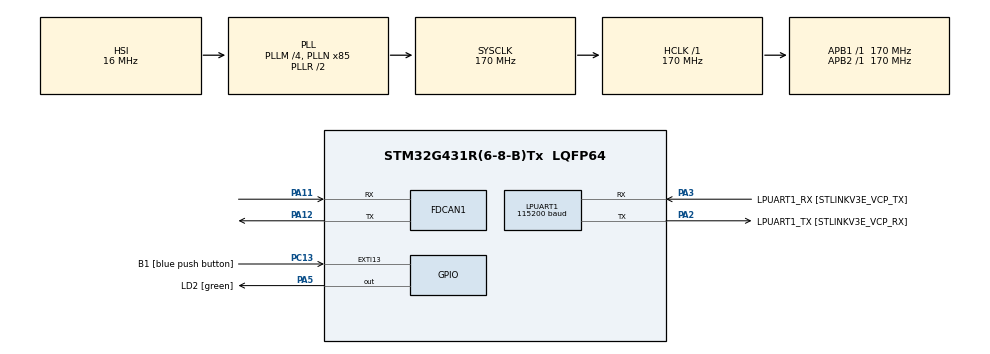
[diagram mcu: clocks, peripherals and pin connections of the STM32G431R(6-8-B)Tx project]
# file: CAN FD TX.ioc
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FDCAN1.AutoRetransmission=DISABLE
FDCAN1.CalculateBaudRateNominal=499999
FDCAN1.CalculateTimeBitNominal=2000
FDCAN1.CalculateTimeQuantumNominal=117.64705882352942
FDCAN1.FrameFormat=FDCAN_FRAME_FD_NO_BRS
FDCAN1.NominalPrescaler=20
FDCAN1.NominalSyncJumpWidth=2
FDCAN1.NominalTimeSeg1=14
FDCAN1.NominalTimeSeg2=2
FDCAN1.ProtocolException=DISABLE
FDCAN1.TransmitPause=DISABLE
LPUART1.BaudRate=115200
Mcu.Family=STM32G4
Mcu.Name=STM32G431R(6-8-B)Tx
Mcu.Package=LQFP64
NVIC.PriorityGroup=NVIC_PRIORITYGROUP_4
PA11.GPIO_Speed=GPIO_SPEED_FREQ_VERY_HIGH
PA11.Mode=FDCAN_Activate
PA11.Signal=FDCAN1_RX
PA12.GPIO_Speed=GPIO_SPEED_FREQ_VERY_HIGH
PA12.Mode=FDCAN_Activate
PA12.Signal=FDCAN1_TX
PA13.GPIO_Label=T_SWDIO
PA13.Mode=Serial_Wire
PA13.Signal=SYS_JTMS-SWDIO
PA14.GPIO_Label=T_SWCLK
PA14.Mode=Serial_Wire
PA14.Signal=SYS_JTCK-SWCLK
PA2.GPIO_Label=LPUART1_TX [STLINKV3E_VCP_RX]
PA2.Mode=Asynchronous
PA2.Signal=LPUART1_TX
PA3.GPIO_Label=LPUART1_RX [STLINKV3E_VCP_TX]
PA3.Mode=Asynchronous
PA3.Signal=LPUART1_RX
PA5.GPIO_Label=LD2 [green]
PA5.Signal=GPIO_Output
PB3.GPIO_Label=T_SWO
PB3.Signal=SYS_JTDO-SWO
PC13.GPIO_Label=B1 [blue push button]
PC13.Signal=GPXTI13
PC14-OSC32_IN.Mode=LSE-External-Oscillator
PC14-OSC32_IN.Signal=RCC_OSC32_IN
PC15-OSC32_OUT.Mode=LSE-External-Oscillator
PC15-OSC32_OUT.Signal=RCC_OSC32_OUT
PF0-OSC_IN.Mode=HSE-External-Oscillator
PF0-OSC_IN.Signal=RCC_OSC_IN
PF1-OSC_OUT.Mode=HSE-External-Oscillator
PF1-OSC_OUT.Signal=RCC_OSC_OUT
ProjectManager.HeapSize=0x200
ProjectManager.StackSize=0x400
ProjectManager.TargetToolchain=STM32CubeIDE
RCC.ADC12Freq_Value=170000000
RCC.AHBFreq_Value=170000000
RCC.APB1Freq_Value=170000000
RCC.APB1TimFreq_Value=170000000
RCC.APB2Freq_Value=170000000
RCC.APB2TimFreq_Value=170000000
RCC.CortexFreq_Value=170000000
RCC.EXTERNAL_CLOCK_VALUE=12288000
RCC.HCLKFreq_Value=170000000
RCC.HSE_VALUE=24000000
RCC.HSI48_VALUE=48000000
RCC.HSI_VALUE=16000000
RCC.PLLM=RCC_PLLM_DIV4
RCC.PLLN=85
RCC.RTCClockSelection=RCC_RTCCLKSOURCE_LSE
RCC.SYSCLKFreq_VALUE=170000000
RCC.SYSCLKSource=RCC_SYSCLKSOURCE_PLLCLK
RCC.USBFreq_Value=170000000
RCC.VCOOutputFreq_Value=340000000
VP_SYS_VS_DBSignals.Mode=DisableDeadBatterySignals
board=NUCLEO-G431RB

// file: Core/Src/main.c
/* USER CODE BEGIN Header */
/**
  ******************************************************************************
  * @file           : main.c
  * @brief          : Main program body
  ******************************************************************************
  * @attention
  *
  * Copyright (c) 2024 STMicroelectronics.
  * All rights reserved.
  *
  * This software is licensed under terms that can be found in the LICENSE file
  * in the root directory of this software component.
  * If no LICENSE file comes with this software, it is provided AS-IS.
  *
  ******************************************************************************
  */
/* USER CODE END Header */
#include "main.h"

/* USER CODE BEGIN Includes */
#include <stdio.h>
#include <string.h>
#include <stdlib.h>
/* USER CODE END Includes */

/* USER CODE BEGIN PTD */
FDCAN_TxHeaderTypeDef TxHeader;
FDCAN_RxHeaderTypeDef RxHeader;

uint8_t TxData[8];
uint8_t RxData[8];

/* USER CODE END PTD */

FDCAN_HandleTypeDef hfdcan1;

UART_HandleTypeDef hlpuart1;

/* USER CODE BEGIN PV */
char uart_msg[100];
void print(char uart_buffer[]);
void printValue(int value);
/* USER CODE END PV */

void SystemClock_Config(void);
static void MX_GPIO_Init(void);
static void MX_LPUART1_UART_Init(void);
static void MX_FDCAN1_Init(void);

int main(void)
{

  /* MCU Configuration--------------------------------------------------------*/

  /* Reset of all peripherals, Initializes the Flash interface and the Systick. */
  HAL_Init();

  /* Configure the system clock */
  SystemClock_Config();

  /* Initialize all configured peripherals */
  MX_GPIO_Init();
  MX_LPUART1_UART_Init();
  MX_FDCAN1_Init();
  /* USER CODE BEGIN 2 */

  print("starting");

  TxHeader.Identifier = 0x10;
  TxHeader.DataLength = FDCAN_DLC_BYTES_2;
  TxData[0] = 0x15;
  TxData[1] = 0x20;

  if(HAL_FDCAN_Start(&hfdcan1) == HAL_OK){
	  print("CAN inicializado");
  }

  /* USER CODE END 2 */

  /* Infinite loop */
  /* USER CODE BEGIN WHILE */
  while (1)
  {

	  /*if (HAL_FDCAN_AddMessageToTxFifoQ(&hfdcan1, &TxHeader, TxData) == HAL_OK)
		{
			print("enviado");
		}
	  HAL_Delay(500);*/
	  if(HAL_FDCAN_GetRxMessage(&hfdcan1, FDCAN_RX_FIFO0, &RxHeader, RxData) == HAL_OK){
		  print("Mensaje recibido");
	  }
	  else{
		  printValue(hfdcan1.ErrorCode);
	  }
	  HAL_Delay(500);

    /* USER CODE END WHILE */

  }
}

void SystemClock_Config(void)
{
  RCC_OscInitTypeDef RCC_OscInitStruct = {0};
  RCC_ClkInitTypeDef RCC_ClkInitStruct = {0};

  /** Configure the main internal regulator output voltage
  */
  HAL_PWREx_ControlVoltageScaling(PWR_REGULATOR_VOLTAGE_SCALE1_BOOST);

  /** Initializes the RCC Oscillators according to the specified parameters
  * in the RCC_OscInitTypeDef structure.
  */
  RCC_OscInitStruct.OscillatorType = RCC_OSCILLATORTYPE_HSI;
  RCC_OscInitStruct.HSIState = RCC_HSI_ON;
  RCC_OscInitStruct.HSICalibrationValue = RCC_HSICALIBRATION_DEFAULT;
  RCC_OscInitStruct.PLL.PLLState = RCC_PLL_ON;
  RCC_OscInitStruct.PLL.PLLSource = RCC_PLLSOURCE_HSI;
  RCC_OscInitStruct.PLL.PLLM = RCC_PLLM_DIV4;
  RCC_OscInitStruct.PLL.PLLN = 85;
  RCC_OscInitStruct.PLL.PLLP = RCC_PLLP_DIV2;
  RCC_OscInitStruct.PLL.PLLQ = RCC_PLLQ_DIV2;
  RCC_OscInitStruct.PLL.PLLR = RCC_PLLR_DIV2;
  if (HAL_RCC_OscConfig(&RCC_OscInitStruct) != HAL_OK)
  {
    Error_Handler();
  }

  /** Initializes the CPU, AHB and APB buses clocks
  */
  RCC_ClkInitStruct.ClockType = RCC_CLOCKTYPE_HCLK|RCC_CLOCKTYPE_SYSCLK
                              |RCC_CLOCKTYPE_PCLK1|RCC_CLOCKTYPE_PCLK2;
  RCC_ClkInitStruct.SYSCLKSource = RCC_SYSCLKSOURCE_PLLCLK;
  RCC_ClkInitStruct.AHBCLKDivider = RCC_SYSCLK_DIV1;
  RCC_ClkInitStruct.APB1CLKDivider = RCC_HCLK_DIV1;
  RCC_ClkInitStruct.APB2CLKDivider = RCC_HCLK_DIV1;

  if (HAL_RCC_ClockConfig(&RCC_ClkInitStruct, FLASH_LATENCY_4) != HAL_OK)
  {
    Error_Handler();
  }
}

static void MX_FDCAN1_Init(void)
{

  hfdcan1.Instance = FDCAN1;
  hfdcan1.Init.ClockDivider = FDCAN_CLOCK_DIV1;
  hfdcan1.Init.FrameFormat = FDCAN_FRAME_FD_NO_BRS;
  hfdcan1.Init.Mode = FDCAN_MODE_NORMAL;
  hfdcan1.Init.AutoRetransmission = DISABLE;
  hfdcan1.Init.TransmitPause = DISABLE;
  hfdcan1.Init.ProtocolException = DISABLE;
  hfdcan1.Init.NominalPrescaler = 20;
  hfdcan1.Init.NominalSyncJumpWidth = 2;
  hfdcan1.Init.NominalTimeSeg1 = 14;
  hfdcan1.Init.NominalTimeSeg2 = 2;
  hfdcan1.Init.DataPrescaler = 1;
  hfdcan1.Init.DataSyncJumpWidth = 1;
  hfdcan1.Init.DataTimeSeg1 = 1;
  hfdcan1.Init.DataTimeSeg2 = 1;
  hfdcan1.Init.StdFiltersNbr = 0;
  hfdcan1.Init.ExtFiltersNbr = 0;
  hfdcan1.Init.TxFifoQueueMode = FDCAN_TX_FIFO_OPERATION;
  if (HAL_FDCAN_Init(&hfdcan1) != HAL_OK)
  {
    Error_Handler();
  }
  /* USER CODE BEGIN FDCAN1_Init 2 */
  /*FDCAN_FilterTypeDef sFilterConfig;
  sFilterConfig.IdType = FDCAN_STANDARD_ID;
  sFilterConfig.FilterIndex = 0;
  sFilterConfig.FilterType = FDCAN_FILTER_RANGE;
  sFilterConfig.FilterConfig = FDCAN_FILTER_TO_RXFIFO0;
  sFilterConfig.FilterID1 = 0;
  sFilterConfig.FilterID2 = 0xFF;
  if (HAL_FDCAN_ConfigFilter(&hfdcan1, &sFilterConfig) != HAL_OK)
  {
    Error_Handler();
  }*/
  /* USER CODE END FDCAN1_Init 2 */

}

static void MX_LPUART1_UART_Init(void)
{

  hlpuart1.Instance = LPUART1;
  hlpuart1.Init.BaudRate = 115200;
  hlpuart1.Init.WordLength = UART_WORDLENGTH_8B;
  hlpuart1.Init.StopBits = UART_STOPBITS_1;
  hlpuart1.Init.Parity = UART_PARITY_NONE;
  hlpuart1.Init.Mode = UART_MODE_TX_RX;
  hlpuart1.Init.HwFlowCtl = UART_HWCONTROL_NONE;
  hlpuart1.Init.OneBitSampling = UART_ONE_BIT_SAMPLE_DISABLE;
  hlpuart1.Init.ClockPrescaler = UART_PRESCALER_DIV1;
  hlpuart1.AdvancedInit.AdvFeatureInit = UART_ADVFEATURE_NO_INIT;
  if (HAL_UART_Init(&hlpuart1) != HAL_OK)
  {
    Error_Handler();
  }
  if (HAL_UARTEx_SetTxFifoThreshold(&hlpuart1, UART_TXFIFO_THRESHOLD_1_8) != HAL_OK)
  {
    Error_Handler();
  }
  if (HAL_UARTEx_SetRxFifoThreshold(&hlpuart1, UART_RXFIFO_THRESHOLD_1_8) != HAL_OK)
  {
    Error_Handler();
  }
  if (HAL_UARTEx_DisableFifoMode(&hlpuart1) != HAL_OK)
  {
    Error_Handler();
  }

}

static void MX_GPIO_Init(void)
{
  GPIO_InitTypeDef GPIO_InitStruct = {0};

  /* GPIO Ports Clock Enable */
  __HAL_RCC_GPIOC_CLK_ENABLE();
  __HAL_RCC_GPIOF_CLK_ENABLE();
  __HAL_RCC_GPIOA_CLK_ENABLE();
  __HAL_RCC_GPIOB_CLK_ENABLE();

  /*Configure GPIO pin Output Level */
  HAL_GPIO_WritePin(LD2_GPIO_Port, LD2_Pin, GPIO_PIN_RESET);

  /*Configure GPIO pin : B1_Pin */
  GPIO_InitStruct.Pin = B1_Pin;
  GPIO_InitStruct.Mode = GPIO_MODE_IT_RISING;
  GPIO_InitStruct.Pull = GPIO_NOPULL;
  HAL_GPIO_Init(B1_GPIO_Port, &GPIO_InitStruct);

  /*Configure GPIO pin : LD2_Pin */
  GPIO_InitStruct.Pin = LD2_Pin;
  GPIO_InitStruct.Mode = GPIO_MODE_OUTPUT_PP;
  GPIO_InitStruct.Pull = GPIO_NOPULL;
  GPIO_InitStruct.Speed = GPIO_SPEED_FREQ_LOW;
  HAL_GPIO_Init(LD2_GPIO_Port, &GPIO_InitStruct);

}

/* USER CODE BEGIN 4 */

void print(char uart_buffer[]){
	sprintf(uart_msg, "%s \n\r", uart_buffer);
	HAL_UART_Transmit(&hlpuart1,(uint8_t*)uart_msg,strlen(uart_msg),HAL_MAX_DELAY);
}

void printValue(int value){
	sprintf(uart_msg, "%hu \n\r", value);
	HAL_UART_Transmit(&hlpuart1,(uint8_t*)uart_msg,strlen(uart_msg),HAL_MAX_DELAY);
}

/* USER CODE END 4 */

void Error_Handler(void)
{
  __disable_irq();
  while (1)
  {
  }
}
